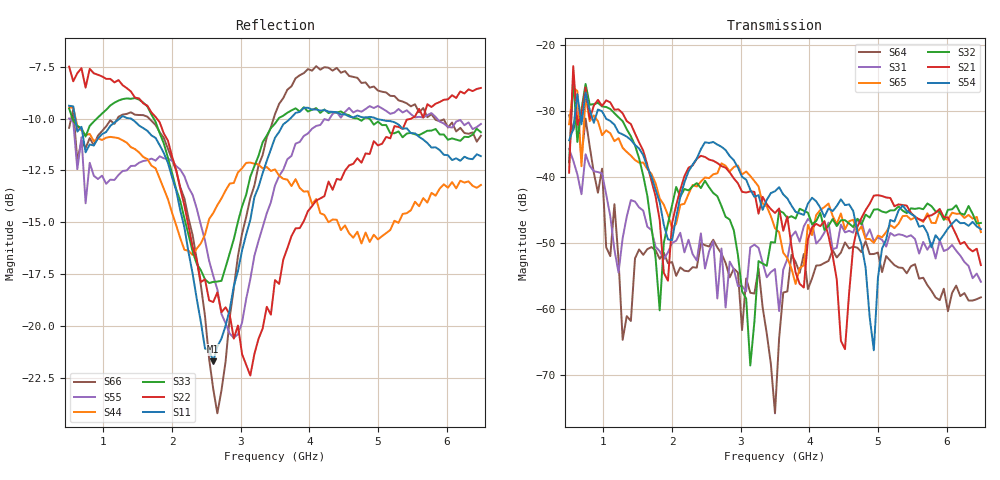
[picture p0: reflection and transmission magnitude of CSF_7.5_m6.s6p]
!Keysight Technologies,M9804A,MY58100912,A.14.10.03
!Date: Thursday, April 27, 2023 10:28:33
!Correction: S11(C  6-Port  )
!S12(C  6-Port  )
!S13(C  6-Port  )
!S14(C  6-Port  )
!S15(C  6-Port  )
!S16(C  6-Port  )
!S21(C  6-Port  )
!S22(C  6-Port  )
!S23(C  6-Port  )
!S24(C  6-Port  )
!S25(C  6-Port  )
!S26(C  6-Port  )
!S31(C  6-Port  )
!S32(C  6-Port  )
!S33(C  6-Port  )
!S34(C  6-Port  )
!S35(C  6-Port  )
!S36(C  6-Port  )
!S41(C  6-Port  )
!S42(C  6-Port  )
!S43(C  6-Port  )
!S44(C  6-Port  )
!S45(C  6-Port  )
!S46(C  6-Port  )
!S51(C  6-Port  )
!S52(C  6-Port  )
!S53(C  6-Port  )
!S54(C  6-Port  )
!S55(C  6-Port  )
!S56(C  6-Port  )
!S61(C  6-Port  )
!S62(C  6-Port  )
!S63(C  6-Port  )
!S64(C  6-Port  )
!S65(C  6-Port  )
!S66(C  6-Port  )
!S6P File: Measurement: :
# Hz S  RI  R 50
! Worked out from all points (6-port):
!   101 points, 500 MHz to 6.5 GHz, reference 50 ohm
!   strongest paths, dB at 500 MHz, 2 GHz, 3.5 GHz, 5 GHz, 6.5 GHz:
!     S54: -34.4, -49.6, -42.2, -55.3, -47.9
!     S21: -39.3, -47.0, -45.5, -42.8, -53.4
!     S32: -37.8, -44.3, -49.9, -44.9, -47.0
!     S65: -32.0, -47.7, -47.8, -48.9, -48.4
!     S31: -35.7, -50.0, -54.0, -49.2, -55.9
!     S64: -30.6, -52.9, -75.9, -51.5, -58.3
!   lowest |S11| = -21.7 dB at 2.6 GHz (marker M1), VSWR 1.18, Z = 42.6 + j2.05 ohm
!   |S11| at or under -10 dB: 589 MHz to 1.237 GHz (648.3 MHz wide, 71 % of centre); 1.401 GHz to 3.722 GHz (2.321 GHz wide, 90.6 % of centre); 4.974 GHz to end of sweep
